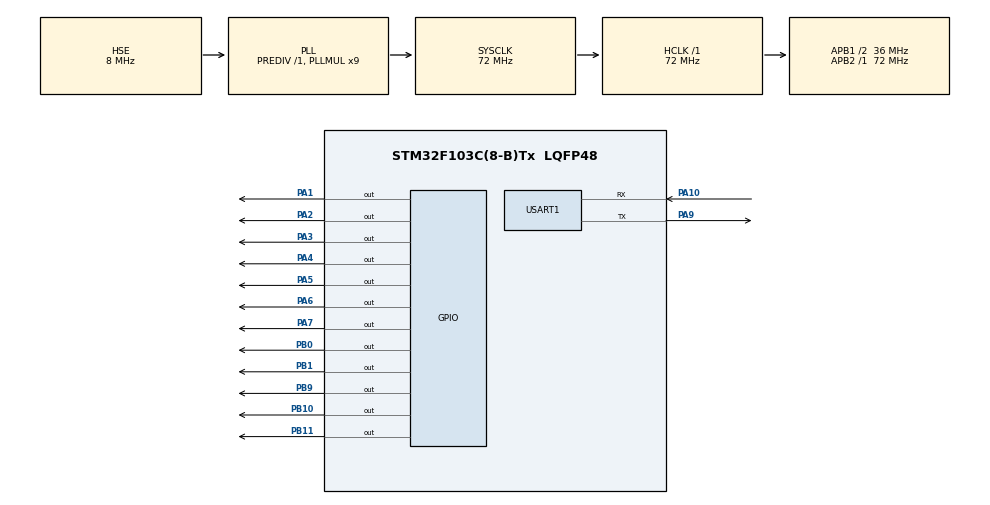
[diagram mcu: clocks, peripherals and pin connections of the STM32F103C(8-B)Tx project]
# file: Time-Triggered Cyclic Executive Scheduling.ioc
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Mcu.Family=STM32F1
Mcu.Name=STM32F103C(8-B)Tx
Mcu.Package=LQFP48
NVIC.PriorityGroup=NVIC_PRIORITYGROUP_4
NVIC.TIM2_IRQn=true\:0\:0\:false\:false\:true\:true\:true\:true
NVIC.USART1_IRQn=true\:0\:0\:false\:false\:true\:true\:true\:true
PA1.Signal=GPIO_Output
PA10.Mode=Asynchronous
PA10.Signal=USART1_RX
PA13.Mode=Serial_Wire
PA13.Signal=SYS_JTMS-SWDIO
PA14.Mode=Serial_Wire
PA14.Signal=SYS_JTCK-SWCLK
PA2.Signal=GPIO_Output
PA3.Signal=GPIO_Output
PA4.Signal=GPIO_Output
PA5.Signal=GPIO_Output
PA6.Signal=GPIO_Output
PA7.Signal=GPIO_Output
PA9.Mode=Asynchronous
PA9.Signal=USART1_TX
PB0.Signal=GPIO_Output
PB1.Signal=GPIO_Output
PB10.Signal=GPIO_Output
PB11.Signal=GPIO_Output
PB9.Signal=GPIO_Output
PD0-OSC_IN.Mode=HSE-External-Oscillator
PD0-OSC_IN.Signal=RCC_OSC_IN
PD1-OSC_OUT.Mode=HSE-External-Oscillator
PD1-OSC_OUT.Signal=RCC_OSC_OUT
ProjectManager.HeapSize=0x200
ProjectManager.StackSize=0x400
ProjectManager.TargetToolchain=MDK-ARM V5.32
RCC.AHBFreq_Value=72000000
RCC.APB1CLKDivider=RCC_HCLK_DIV2
RCC.APB1Freq_Value=36000000
RCC.APB1TimFreq_Value=72000000
RCC.APB2Freq_Value=72000000
RCC.APB2TimFreq_Value=72000000
RCC.HCLKFreq_Value=72000000
RCC.PLLMUL=RCC_PLL_MUL9
RCC.PLLSourceVirtual=RCC_PLLSOURCE_HSE
RCC.SYSCLKFreq_VALUE=72000000
RCC.SYSCLKSource=RCC_SYSCLKSOURCE_PLLCLK
RCC.USBFreq_Value=72000000
TIM1.Prescaler=71
TIM2.Period=9999
TIM2.Prescaler=71
USART1.VirtualMode=VM_ASYNC
VP_TIM1_VS_ClockSourceINT.Mode=Internal
VP_TIM2_VS_ClockSourceINT.Mode=Internal
board=custom

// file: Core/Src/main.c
/* USER CODE BEGIN Header */
/**
  ******************************************************************************
  * @file           : main.c
  * @brief          : Main program body
  ******************************************************************************
  * @attention
  *
  * Copyright (c) 2025 STMicroelectronics.
  * All rights reserved.
  *
  * This software is licensed under terms that can be found in the LICENSE file
  * in the root directory of this software component.
  * If no LICENSE file comes with this software, it is provided AS-IS.
  *
  ******************************************************************************
  */
/* USER CODE END Header */
#include "main.h"

/* USER CODE BEGIN Includes */
#include "stdio.h"
#include "string.h"
#include "stdbool.h"
/* USER CODE END Includes */

TIM_HandleTypeDef htim1;
TIM_HandleTypeDef htim2;

UART_HandleTypeDef huart1;

void SystemClock_Config(void);
static void MX_GPIO_Init(void);
static void MX_TIM1_Init(void);
static void MX_USART1_UART_Init(void);
static void MX_TIM2_Init(void);

/* USER CODE BEGIN 0 */
#define DHT22_PORT GPIOB
#define DHT22_PIN GPIO_PIN_9
uint8_t RH1, RH2, TC1, TC2, SUM, CHECK;
uint32_t pMillis, cMillis;
float tCelsius = 0;
float tFahrenheit = 0;
float RH = 0;

char uart_buffer[50]; // Buffer chuoi uart
uint8_t send_temp = 1; // Co nhiet do do am
uint8_t data_RX[2];
void microDelay (uint16_t delay)
{
  __HAL_TIM_SET_COUNTER(&htim1, 0);
  while (__HAL_TIM_GET_COUNTER(&htim1) < delay);
}

uint8_t DHT22_Start (void)
{
  uint8_t Response = 0;
  GPIO_InitTypeDef GPIO_InitStructPrivate = {0};
  GPIO_InitStructPrivate.Pin = DHT22_PIN;
  GPIO_InitStructPrivate.Mode = GPIO_MODE_OUTPUT_PP;
  GPIO_InitStructPrivate.Speed = GPIO_SPEED_FREQ_LOW;
  GPIO_InitStructPrivate.Pull = GPIO_NOPULL;
  HAL_GPIO_Init(DHT22_PORT, &GPIO_InitStructPrivate); // set the pin as output
  HAL_GPIO_WritePin (DHT22_PORT, DHT22_PIN, 0);   // pull the pin low
  microDelay (1300);   // wait for 1300us
  HAL_GPIO_WritePin (DHT22_PORT, DHT22_PIN, 1);   // pull the pin high
  microDelay (30);   // wait for 30us
  GPIO_InitStructPrivate.Mode = GPIO_MODE_INPUT;
  GPIO_InitStructPrivate.Pull = GPIO_PULLUP;
  HAL_GPIO_Init(DHT22_PORT, &GPIO_InitStructPrivate); // set the pin as input
  microDelay (40);
  if (!(HAL_GPIO_ReadPin (DHT22_PORT, DHT22_PIN)))
  {
    microDelay (80);
    if ((HAL_GPIO_ReadPin (DHT22_PORT, DHT22_PIN))) Response = 1;
  }
  pMillis = HAL_GetTick();
  cMillis = HAL_GetTick();
  while ((HAL_GPIO_ReadPin (DHT22_PORT, DHT22_PIN)) && pMillis + 2 > cMillis)
  {
    cMillis = HAL_GetTick();
  }
  return Response;
}

uint8_t DHT22_Read (void)
{
  uint8_t a,b;
  for (a=0;a<8;a++)
  {
    pMillis = HAL_GetTick();
    cMillis = HAL_GetTick();
    while (!(HAL_GPIO_ReadPin (DHT22_PORT, DHT22_PIN)) && pMillis + 2 > cMillis)
    {  // wait for the pin to go high
      cMillis = HAL_GetTick();
    }
    microDelay (40);   // wait for 40 us
    if (!(HAL_GPIO_ReadPin (DHT22_PORT, DHT22_PIN)))   // if the pin is low
      b&= ~(1<<(7-a));
    else
      b|= (1<<(7-a));
    pMillis = HAL_GetTick();
    cMillis = HAL_GetTick();
    while ((HAL_GPIO_ReadPin (DHT22_PORT, DHT22_PIN)) && pMillis + 2 > cMillis)
    {  // wait for the pin to go low
      cMillis = HAL_GetTick();
    }
  }
  return b;
}
uint16_t T, H;
const uint8_t digits[10] = {
    0x3F, // 0
    0x06, // 1
    0x5B, // 2
	0b01001111, // 3
    0x66, // 4
    0x6D, // 5
    0x7D, // 6
    0x07, // 7
    0x7F, // 8
    0x6F  // 9
};

// C?u hình các chân GPIO tuong ?ng v?i các segment (a, b, c, d, e, f, g)
GPIO_TypeDef *segmentPorts[] = {GPIOA, GPIOA, GPIOA, GPIOA, GPIOB, GPIOA, GPIOA};
uint16_t segmentPins[] = {GPIO_PIN_1, GPIO_PIN_3, GPIO_PIN_5, GPIO_PIN_7, GPIO_PIN_0, GPIO_PIN_2, GPIO_PIN_4};
// M?ng chân GPIO di?u khi?n ch?n t?ng LED
GPIO_TypeDef* digitPorts[3] = {GPIOB, GPIOB, GPIOB}; // Gi? s? dùng port A
uint16_t digitPins[3] = {GPIO_PIN_1, GPIO_PIN_10, GPIO_PIN_11}; // Chân PA7, PA8, PA9 dùng d? ch?n t?ng LED
void DisplayDigit(uint8_t digit, uint8_t position) {
    // T?t t?t c? các LED (ngan trùng l?p)
    HAL_GPIO_WritePin(GPIOB, digitPins[0] | digitPins[1] | digitPins[2], GPIO_PIN_RESET);
    HAL_GPIO_WritePin(GPIOA, GPIO_PIN_6, GPIO_PIN_RESET);
    uint8_t segments = digits[digit];
    for (int i = 0; i < 7; i++) {
    	if (segments & (1 << i)) {
    	            // N?u bit th? i là 1, b?t segment, t?c là n?i chân v?i GND (LOW)
    	            HAL_GPIO_WritePin(segmentPorts[i], segmentPins[i], GPIO_PIN_SET);  // B?t
    	        } else {
    	            // N?u bit th? i là 0, t?t segment, t?c là n?i chân v?i VCC (HIGH)
    	            HAL_GPIO_WritePin(segmentPorts[i], segmentPins[i], GPIO_PIN_RESET);  // T?t
    	        }
    }

    // B?t LED 7 thanh theo v? trí
    if (position == 0) HAL_GPIO_WritePin(digitPorts[0], digitPins[0], GPIO_PIN_SET); // LED1
    if (position == 1){ HAL_GPIO_WritePin(digitPorts[1], digitPins[1], GPIO_PIN_SET);
    HAL_GPIO_WritePin(GPIOA, GPIO_PIN_6, GPIO_PIN_SET);// LED2
    }
    if (position == 2) HAL_GPIO_WritePin(digitPorts[2], digitPins[2], GPIO_PIN_SET); // LED3
}
void DisplayNumber(uint16_t number) {
    uint8_t hundreds = number / 100;        // L?y hàng tram
    uint8_t tens = (number / 10) % 10;     // L?y hàng ch?c
    uint8_t units = number % 10;           // L?y hàng don v?

    // Hi?n th? t?ng ch? s? v?i quét nhanh
    DisplayDigit(hundreds, 0);
    HAL_Delay(1); // D?ng ng?n d? hi?n th?
    DisplayDigit(tens, 1);
    HAL_Delay(1);
    DisplayDigit(units, 2);
    HAL_Delay(1);
}
/* USER CODE END 0 */

int main(void)
{

  /* MCU Configuration--------------------------------------------------------*/

  /* Reset of all peripherals, Initializes the Flash interface and the Systick. */
  HAL_Init();

  /* Configure the system clock */
  SystemClock_Config();

  /* Initialize all configured peripherals */
  MX_GPIO_Init();
  MX_TIM1_Init();
  MX_USART1_UART_Init();
  MX_TIM2_Init();
  /* USER CODE BEGIN 2 */
 HAL_TIM_Base_Start(&htim1);
 HAL_TIM_Base_Start_IT(&htim2);
 HAL_UART_Init(&huart1);
 HAL_UART_Receive_IT(&huart1, data_RX, 1);
 bool send_temp = true;
  /* USER CODE END 2 */

  /* Infinite loop */
  /* USER CODE BEGIN WHILE */
  while (1)
  {
			if(DHT22_Start())
    {
      RH1 = DHT22_Read(); // First 8bits of humidity
      RH2 = DHT22_Read(); // Second 8bits of Relative humidity
      TC1 = DHT22_Read(); // First 8bits of Celsius
      TC2 = DHT22_Read(); // Second 8bits of Celsius
      SUM = DHT22_Read(); // Check sum
      CHECK = RH1 + RH2 + TC1 + TC2;
      if (CHECK == SUM)
      {
        if (TC1>127) // If TC1=10000000, negative temperature
        {
          tCelsius = (float)TC2/10*(-1);
					T=tCelsius*10;
        }
        else
        {
          tCelsius = (float)((TC1<<8)|TC2)/10;
					T=tCelsius*10;
        }
        tFahrenheit = tCelsius * 9/5 + 32;
        RH = (float) ((RH1<<8)|RH2)/10;
				H=RH*10;
      }
    }
		HAL_Delay(1000);
		GPIO_TypeDef* digitPorts[3] = {GPIOB, GPIOB, GPIOB}; // Gi? s? dùng port A
    uint16_t digitPins[3] = {GPIO_PIN_1, GPIO_PIN_10, GPIO_PIN_11};
		 if (send_temp)
    {
        // Gui nhiet do qua UART
      sprintf(uart_buffer, "Temperature: %.1fC\r\n", tCelsius); // Gui nhiet do
			HAL_UART_Transmit(&huart1, (uint8_t*)uart_buffer, strlen(uart_buffer), HAL_MAX_DELAY);
			for(int i=0;i<=500;i++){
        DisplayNumber(T);
    }HAL_GPIO_WritePin(GPIOB, digitPins[0] | digitPins[1] | digitPins[2], GPIO_PIN_RESET);
     HAL_GPIO_WritePin(GPIOA, GPIO_PIN_6, GPIO_PIN_RESET);
		}
    else
    {
        // Gui do am qua UART
      sprintf(uart_buffer, "Humidity: %.0f%%\r\n", RH); // Gui do am
			HAL_UART_Transmit(&huart1, (uint8_t*)uart_buffer, strlen(uart_buffer), HAL_MAX_DELAY);
			for(int i=0;i<=500;i++){
        DisplayNumber(H);
        }
    HAL_GPIO_WritePin(GPIOB, digitPins[0] | digitPins[1] | digitPins[2], GPIO_PIN_RESET);
     HAL_GPIO_WritePin(GPIOA, GPIO_PIN_6, GPIO_PIN_RESET);
    }

    send_temp = !send_temp; // Thay doi gui giua nhiet do va do am
    HAL_Delay(1000); // thoi gian cho 5s
    /* USER CODE END WHILE */

  }
}

void SystemClock_Config(void)
{
  RCC_OscInitTypeDef RCC_OscInitStruct = {0};
  RCC_ClkInitTypeDef RCC_ClkInitStruct = {0};

  /** Initializes the RCC Oscillators according to the specified parameters
  * in the RCC_OscInitTypeDef structure.
  */
  RCC_OscInitStruct.OscillatorType = RCC_OSCILLATORTYPE_HSE;
  RCC_OscInitStruct.HSEState = RCC_HSE_ON;
  RCC_OscInitStruct.HSEPredivValue = RCC_HSE_PREDIV_DIV1;
  RCC_OscInitStruct.HSIState = RCC_HSI_ON;
  RCC_OscInitStruct.PLL.PLLState = RCC_PLL_ON;
  RCC_OscInitStruct.PLL.PLLSource = RCC_PLLSOURCE_HSE;
  RCC_OscInitStruct.PLL.PLLMUL = RCC_PLL_MUL9;
  if (HAL_RCC_OscConfig(&RCC_OscInitStruct) != HAL_OK)
  {
    Error_Handler();
  }

  /** Initializes the CPU, AHB and APB buses clocks
  */
  RCC_ClkInitStruct.ClockType = RCC_CLOCKTYPE_HCLK|RCC_CLOCKTYPE_SYSCLK
                              |RCC_CLOCKTYPE_PCLK1|RCC_CLOCKTYPE_PCLK2;
  RCC_ClkInitStruct.SYSCLKSource = RCC_SYSCLKSOURCE_PLLCLK;
  RCC_ClkInitStruct.AHBCLKDivider = RCC_SYSCLK_DIV1;
  RCC_ClkInitStruct.APB1CLKDivider = RCC_HCLK_DIV2;
  RCC_ClkInitStruct.APB2CLKDivider = RCC_HCLK_DIV1;

  if (HAL_RCC_ClockConfig(&RCC_ClkInitStruct, FLASH_LATENCY_2) != HAL_OK)
  {
    Error_Handler();
  }
}

static void MX_TIM1_Init(void)
{

  TIM_ClockConfigTypeDef sClockSourceConfig = {0};
  TIM_MasterConfigTypeDef sMasterConfig = {0};

  htim1.Instance = TIM1;
  htim1.Init.Prescaler = 71;
  htim1.Init.CounterMode = TIM_COUNTERMODE_UP;
  htim1.Init.Period = 65535;
  htim1.Init.ClockDivision = TIM_CLOCKDIVISION_DIV1;
  htim1.Init.RepetitionCounter = 0;
  htim1.Init.AutoReloadPreload = TIM_AUTORELOAD_PRELOAD_DISABLE;
  if (HAL_TIM_Base_Init(&htim1) != HAL_OK)
  {
    Error_Handler();
  }
  sClockSourceConfig.ClockSource = TIM_CLOCKSOURCE_INTERNAL;
  if (HAL_TIM_ConfigClockSource(&htim1, &sClockSourceConfig) != HAL_OK)
  {
    Error_Handler();
  }
  sMasterConfig.MasterOutputTrigger = TIM_TRGO_RESET;
  sMasterConfig.MasterSlaveMode = TIM_MASTERSLAVEMODE_DISABLE;
  if (HAL_TIMEx_MasterConfigSynchronization(&htim1, &sMasterConfig) != HAL_OK)
  {
    Error_Handler();
  }

}

static void MX_TIM2_Init(void)
{

  TIM_ClockConfigTypeDef sClockSourceConfig = {0};
  TIM_MasterConfigTypeDef sMasterConfig = {0};

  htim2.Instance = TIM2;
  htim2.Init.Prescaler = 71;
  htim2.Init.CounterMode = TIM_COUNTERMODE_UP;
  htim2.Init.Period = 9999;
  htim2.Init.ClockDivision = TIM_CLOCKDIVISION_DIV1;
  htim2.Init.AutoReloadPreload = TIM_AUTORELOAD_PRELOAD_DISABLE;
  if (HAL_TIM_Base_Init(&htim2) != HAL_OK)
  {
    Error_Handler();
  }
  sClockSourceConfig.ClockSource = TIM_CLOCKSOURCE_INTERNAL;
  if (HAL_TIM_ConfigClockSource(&htim2, &sClockSourceConfig) != HAL_OK)
  {
    Error_Handler();
  }
  sMasterConfig.MasterOutputTrigger = TIM_TRGO_RESET;
  sMasterConfig.MasterSlaveMode = TIM_MASTERSLAVEMODE_DISABLE;
  if (HAL_TIMEx_MasterConfigSynchronization(&htim2, &sMasterConfig) != HAL_OK)
  {
    Error_Handler();
  }

}

static void MX_USART1_UART_Init(void)
{

  huart1.Instance = USART1;
  huart1.Init.BaudRate = 115200;
  huart1.Init.WordLength = UART_WORDLENGTH_8B;
  huart1.Init.StopBits = UART_STOPBITS_1;
  huart1.Init.Parity = UART_PARITY_NONE;
  huart1.Init.Mode = UART_MODE_TX_RX;
  huart1.Init.HwFlowCtl = UART_HWCONTROL_NONE;
  huart1.Init.OverSampling = UART_OVERSAMPLING_16;
  if (HAL_UART_Init(&huart1) != HAL_OK)
  {
    Error_Handler();
  }

}

static void MX_GPIO_Init(void)
{
  GPIO_InitTypeDef GPIO_InitStruct = {0};

  /* GPIO Ports Clock Enable */
  __HAL_RCC_GPIOD_CLK_ENABLE();
  __HAL_RCC_GPIOA_CLK_ENABLE();
  __HAL_RCC_GPIOB_CLK_ENABLE();

  /*Configure GPIO pin Output Level */
  HAL_GPIO_WritePin(GPIOA, GPIO_PIN_1|GPIO_PIN_2|GPIO_PIN_3|GPIO_PIN_4
                          |GPIO_PIN_5|GPIO_PIN_6|GPIO_PIN_7, GPIO_PIN_RESET);

  /*Configure GPIO pin Output Level */
  HAL_GPIO_WritePin(GPIOB, GPIO_PIN_0|GPIO_PIN_1|GPIO_PIN_10|GPIO_PIN_11
                          |GPIO_PIN_9, GPIO_PIN_RESET);

  /*Configure GPIO pins : PA1 PA2 PA3 PA4
                           PA5 PA6 PA7 */
  GPIO_InitStruct.Pin = GPIO_PIN_1|GPIO_PIN_2|GPIO_PIN_3|GPIO_PIN_4
                          |GPIO_PIN_5|GPIO_PIN_6|GPIO_PIN_7;
  GPIO_InitStruct.Mode = GPIO_MODE_OUTPUT_PP;
  GPIO_InitStruct.Pull = GPIO_NOPULL;
  GPIO_InitStruct.Speed = GPIO_SPEED_FREQ_LOW;
  HAL_GPIO_Init(GPIOA, &GPIO_InitStruct);

  /*Configure GPIO pins : PB0 PB1 PB10 PB11
                           PB9 */
  GPIO_InitStruct.Pin = GPIO_PIN_0|GPIO_PIN_1|GPIO_PIN_10|GPIO_PIN_11
                          |GPIO_PIN_9;
  GPIO_InitStruct.Mode = GPIO_MODE_OUTPUT_PP;
  GPIO_InitStruct.Pull = GPIO_NOPULL;
  GPIO_InitStruct.Speed = GPIO_SPEED_FREQ_LOW;
  HAL_GPIO_Init(GPIOB, &GPIO_InitStruct);

}

/* USER CODE BEGIN 4 */
int counter = 1000;
void HAL_TIM_PeriodElapsedCallBack(TIM_HandleTypeDef *htim)
{
	if (counter>0){
		counter--;
		if(counter<=0){
			counter=1000;}
		}
	if (counter==999)
		{
		if(DHT22_Start())
    {
      RH1 = DHT22_Read(); // First 8bits of humidity
      RH2 = DHT22_Read(); // Second 8bits of Relative humidity
      TC1 = DHT22_Read(); // First 8bits of Celsius
      TC2 = DHT22_Read(); // Second 8bits of Celsius
      SUM = DHT22_Read(); // Check sum
      CHECK = RH1 + RH2 + TC1 + TC2;
      if (CHECK == SUM)
      {
        if (TC1>127) // If TC1=10000000, negative temperature
        {
          tCelsius = (float)TC2/10*(-1);
					T=tCelsius*10;
        }
        else
        {
          tCelsius = (float)((TC1<<8)|TC2)/10;
					T=tCelsius*10;
        }
        tFahrenheit = tCelsius * 9/5 + 32;
        RH = (float) ((RH1<<8)|RH2)/10;
				H=RH*10;
      }
    }
	}
		if (counter==899)
		{
		GPIO_TypeDef* digitPorts[3] = {GPIOB, GPIOB, GPIOB}; // Gi? s? dùng port A
    uint16_t digitPins[3] = {GPIO_PIN_1, GPIO_PIN_10, GPIO_PIN_11};
		}
		if (counter==850){
        // Gui nhiet do qua UART
      sprintf(uart_buffer, "Temperature: %.1fC\r\n", tCelsius); // Gui nhiet do
			HAL_UART_Transmit(&huart1, (uint8_t*)uart_buffer, strlen(uart_buffer), HAL_MAX_DELAY);}
			if(counter<=800|counter>450){
        DisplayNumber(T);
     HAL_GPIO_WritePin(GPIOB, digitPins[0] | digitPins[1] | digitPins[2], GPIO_PIN_RESET);
     HAL_GPIO_WritePin(GPIOA, GPIO_PIN_6, GPIO_PIN_RESET);
		}
    if (counter==400)
    {
        // Gui do am qua UART
      sprintf(uart_buffer, "Humidity: %.0f%%\r\n", RH); // Gui do am
			HAL_UART_Transmit(&huart1, (uint8_t*)uart_buffer, strlen(uart_buffer), HAL_MAX_DELAY);}
			if(counter<=350|counter>1){
        DisplayNumber(H);
    HAL_GPIO_WritePin(GPIOB, digitPins[0] | digitPins[1] | digitPins[2], GPIO_PIN_RESET);
     HAL_GPIO_WritePin(GPIOA, GPIO_PIN_6, GPIO_PIN_RESET);
    }

}
void HAL_UART_RxCpltCallback(UART_HandleTypeDef *huart)
{
	if(huart->Instance == huart1.Instance){
		uint8_t buffer[2];
	  HAL_UART_Transmit(&huart1, (uint8_t*)"\r\nWait for command\r\n", 18, 100);
		HAL_UART_Receive(&huart1, &buffer[0], 1, HAL_MAX_DELAY);
		HAL_UART_Transmit(&huart1, (uint8_t*)"\r\nCommand received\r\n", 19, 100);
		HAL_UART_Receive_IT(&huart1, data_RX, 1);
	}
}
/* USER CODE END 4 */

void Error_Handler(void)
{
  __disable_irq();
  while (1)
  {
  }
}
